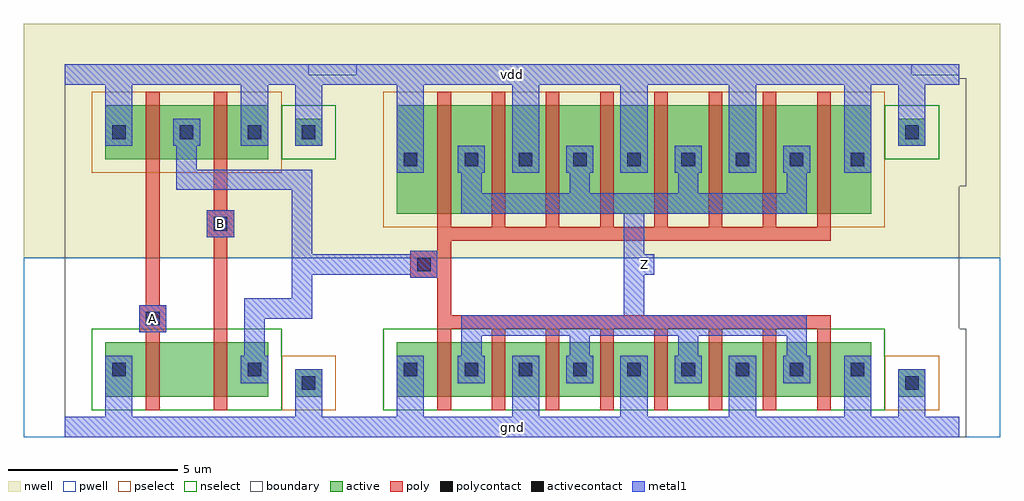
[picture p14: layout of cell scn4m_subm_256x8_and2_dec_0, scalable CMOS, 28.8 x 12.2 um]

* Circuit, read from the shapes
.subckt scn4m_subm_256x8_and2_dec_0 A B Z gnd vdd
M1 scn4m_subm_256x8_pnand2_0/scn4m_subm_256x8_nmos_m1_w1_600_sm1_dactive_2/D A gnd gnd nfet w=1.6u l=0.4u
M2 scn4m_subm_256x8_pinv_0_1/A B scn4m_subm_256x8_pnand2_0/scn4m_subm_256x8_nmos_m1_w1_600_sm1_dactive_2/D gnd nfet w=1.6u l=0.4u
M3 Z scn4m_subm_256x8_pinv_0_1/A gnd gnd nfet w=1.6u l=0.4u m=8
M4 scn4m_subm_256x8_pinv_0_1/A A vdd vdd pfet w=1.6u l=0.4u
M5 vdd B scn4m_subm_256x8_pinv_0_1/A vdd pfet w=1.6u l=0.4u
M6 Z scn4m_subm_256x8_pinv_0_1/A vdd vdd pfet w=3.2u l=0.4u m=8
.ends

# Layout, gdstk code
import gdstk
lib = gdstk.Library(unit=1e-6, precision=1e-09)
def R(c, l, rs):  # rectangles x0, y0, x1, y1
    for r in rs: c.add(gdstk.rectangle(r[:2], r[2:], *l))
def A(c, l, x, y, w, h, nx, ny, dx, dy):  # array of equal rectangles
    R(c, l, [(x+i*dx, y+j*dy, x+i*dx+w, y+j*dy+h) for i in range(nx) for j in range(ny)])
pwell = (41, 0)
nwell = (42, 0)
active = (43, 0)
pselect = (44, 0)
nselect = (45, 0)
poly = (46, 0)
polycontact = (47, 0)
activecontact = (48, 0)
metal1 = (49, 0)
boundary = (63, 0)

scn4m_subm_256x8_contact = lib.new_cell('scn4m_subm_256x8_contact_12')
R(scn4m_subm_256x8_contact, nwell, [(-1.2,-1.2,2,2)])
R(scn4m_subm_256x8_contact, active, [(0,0,0.8,0.8)])
R(scn4m_subm_256x8_contact, pselect, [(-0.4,-0.4,1.2,1.2)])
R(scn4m_subm_256x8_contact, activecontact, [(0.2,0.2,0.6,0.6)])
R(scn4m_subm_256x8_contact, metal1, [(0,0,0.8,0.8)])
R(scn4m_subm_256x8_contact, boundary, [(-1.2,-1.2,2,2)])

scn4m_subm_256x8_pmos_m1 = lib.new_cell('scn4m_subm_256x8_pmos_m1_w1_600_sm1_dm1')
R(scn4m_subm_256x8_pmos_m1, nwell, [(-1.2,-1.2,4,2.8)])
R(scn4m_subm_256x8_pmos_m1, active, [(0,0,2.8,1.6)])
R(scn4m_subm_256x8_pmos_m1, pselect, [(-0.4,-0.4,3.2,2)])
R(scn4m_subm_256x8_pmos_m1, poly, [(1.2,-0.4,1.6,2), (1.2,-0.4,1.6,2)])
R(scn4m_subm_256x8_pmos_m1, metal1, [(0,0.4,0.8,1.2), (2,0.4,2.8,1.2)])
R(scn4m_subm_256x8_pmos_m1, boundary, [(-1.2,-1.2,4,2.8)])
scn4m_subm_256x8_pmos_m1.add(gdstk.Reference(scn4m_subm_256x8_contact, (0,0.4)))
scn4m_subm_256x8_pmos_m1.add(gdstk.Reference(scn4m_subm_256x8_contact, (2,0.4)))
scn4m_subm_256x8_pmos_m1.add(gdstk.Label('G', (1.4,0.8), layer=46, texttype=0))
scn4m_subm_256x8_pmos_m1.add(gdstk.Label('S', (0.4,0.8), layer=49, texttype=0))
scn4m_subm_256x8_pmos_m1.add(gdstk.Label('D', (2.4,0.8), layer=49, texttype=0))

c_scn4m_subm_256x8_contact = lib.new_cell('scn4m_subm_256x8_contact_11')
R(c_scn4m_subm_256x8_contact, pwell, [(-1.2,-1.2,2,2)])
R(c_scn4m_subm_256x8_contact, active, [(0,0,0.8,0.8)])
R(c_scn4m_subm_256x8_contact, nselect, [(-0.4,-0.4,1.2,1.2)])
R(c_scn4m_subm_256x8_contact, activecontact, [(0.2,0.2,0.6,0.6)])
R(c_scn4m_subm_256x8_contact, metal1, [(0,0,0.8,0.8)])
R(c_scn4m_subm_256x8_contact, boundary, [(-1.2,-1.2,2,2)])

scn4m_subm_256x8_nmos_m1 = lib.new_cell('scn4m_subm_256x8_nmos_m1_w1_600_sm1_dactive')
R(scn4m_subm_256x8_nmos_m1, pwell, [(-1.2,-1.2,4,2.8)])
R(scn4m_subm_256x8_nmos_m1, active, [(0,0,2.8,1.6), (2.1,0.5,2.7,1.1)])
R(scn4m_subm_256x8_nmos_m1, nselect, [(-0.4,-0.4,3.2,2)])
R(scn4m_subm_256x8_nmos_m1, poly, [(1.2,-0.4,1.6,2), (1.2,-0.4,1.6,2)])
R(scn4m_subm_256x8_nmos_m1, metal1, [(0,0.4,0.8,1.2)])
R(scn4m_subm_256x8_nmos_m1, boundary, [(-1.2,-1.2,4,2.8)])
scn4m_subm_256x8_nmos_m1.add(gdstk.Reference(c_scn4m_subm_256x8_contact, (0,0.4)))
scn4m_subm_256x8_nmos_m1.add(gdstk.Label('G', (1.4,0.8), layer=46, texttype=0))
scn4m_subm_256x8_nmos_m1.add(gdstk.Label('S', (0.4,0.8), layer=49, texttype=0))
scn4m_subm_256x8_nmos_m1.add(gdstk.Label('D', (2.4,0.8), layer=43, texttype=0))

c_scn4m_subm_256x8_nmos_m1 = lib.new_cell('scn4m_subm_256x8_nmos_m1_w1_600_sactive_dm1')
R(c_scn4m_subm_256x8_nmos_m1, pwell, [(-1.2,-1.2,4,2.8)])
R(c_scn4m_subm_256x8_nmos_m1, active, [(0,0,2.8,1.6), (0.1,0.5,0.7,1.1)])
R(c_scn4m_subm_256x8_nmos_m1, nselect, [(-0.4,-0.4,3.2,2)])
R(c_scn4m_subm_256x8_nmos_m1, poly, [(1.2,-0.4,1.6,2), (1.2,-0.4,1.6,2)])
R(c_scn4m_subm_256x8_nmos_m1, metal1, [(2,0.4,2.8,1.2)])
R(c_scn4m_subm_256x8_nmos_m1, boundary, [(-1.2,-1.2,4,2.8)])
c_scn4m_subm_256x8_nmos_m1.add(gdstk.Reference(c_scn4m_subm_256x8_contact, (2,0.4)))
c_scn4m_subm_256x8_nmos_m1.add(gdstk.Label('G', (1.4,0.8), layer=46, texttype=0))
c_scn4m_subm_256x8_nmos_m1.add(gdstk.Label('S', (0.4,0.8), layer=43, texttype=0))
c_scn4m_subm_256x8_nmos_m1.add(gdstk.Label('D', (2.4,0.8), layer=49, texttype=0))

c_scn4m_subm_256x8_contact_ = lib.new_cell('scn4m_subm_256x8_contact_13')
R(c_scn4m_subm_256x8_contact_, nwell, [(-1.2,-1.2,2,2)])
R(c_scn4m_subm_256x8_contact_, active, [(0,0,0.8,0.8)])
R(c_scn4m_subm_256x8_contact_, nselect, [(-0.4,-0.4,1.2,1.2)])
R(c_scn4m_subm_256x8_contact_, activecontact, [(0.2,0.2,0.6,0.6)])
R(c_scn4m_subm_256x8_contact_, metal1, [(0,0,0.8,0.8)])
R(c_scn4m_subm_256x8_contact_, boundary, [(-1.2,-1.2,2,2)])

c_scn4m_subm_256x8_contact__ = lib.new_cell('scn4m_subm_256x8_contact_14')
R(c_scn4m_subm_256x8_contact__, pwell, [(-1.2,-1.2,2,2)])
R(c_scn4m_subm_256x8_contact__, active, [(0,0,0.8,0.8)])
R(c_scn4m_subm_256x8_contact__, pselect, [(-0.4,-0.4,1.2,1.2)])
R(c_scn4m_subm_256x8_contact__, activecontact, [(0.2,0.2,0.6,0.6)])
R(c_scn4m_subm_256x8_contact__, metal1, [(0,0,0.8,0.8)])
R(c_scn4m_subm_256x8_contact__, boundary, [(-1.2,-1.2,2,2)])

c_scn4m_subm_256x8_contact___ = lib.new_cell('scn4m_subm_256x8_contact_15')
R(c_scn4m_subm_256x8_contact___, poly, [(0,0,0.8,0.8)])
R(c_scn4m_subm_256x8_contact___, polycontact, [(0.2,0.2,0.6,0.6)])
R(c_scn4m_subm_256x8_contact___, metal1, [(0,0,0.8,0.8)])
R(c_scn4m_subm_256x8_contact___, boundary, [(0,0,0.8,0.8)])

scn4m_subm_256x8_pnand2 = lib.new_cell('scn4m_subm_256x8_pnand2')
R(scn4m_subm_256x8_pnand2, pwell, [(-1.2,-0.3,9.8,5)])
R(scn4m_subm_256x8_pnand2, nwell, [(-1.2,5,9.8,11.9)])
R(scn4m_subm_256x8_pnand2, poly, [(2.4,2.8,2.6,3.6), (2.4,2.9,2.8,7.5), (4.4,2.9,4.8,7.5), (4.4,5.6,4.6,6.4)])
R(scn4m_subm_256x8_pnand2, metal1, [(0,-0.3,8.6,0.3), (1.2,-0.3,2,1.3), (6.8,0,7.6,1.3), (5.3,2.1,5.9,3.5), (2.2,2.8,3,3.6), (5.3,3.2,5.9,3.8), (5.6,3.2,7,3.8), (6.7,3.2,7.3,3.8), (6.7,3.5,7.3,7.3), (4.2,5.6,5,6.4), (3.3,7,3.9,7.6), (3.6,7,7,7.6), (6.7,7,7.3,7.6), (3.3,7.3,3.9,8.3), (1.2,8.3,2,10.7), (5.2,8.3,6,10.7), (6.8,8.7,7.6,10.4), (0,10.1,8.6,10.7)])
R(scn4m_subm_256x8_pnand2, boundary, [(0,0,8.6,10.4), (0,0,8.6,10.4)])
scn4m_subm_256x8_pnand2.add(gdstk.Reference(scn4m_subm_256x8_pmos_m1, (1.2,7.9)))
scn4m_subm_256x8_pnand2.add(gdstk.Reference(scn4m_subm_256x8_pmos_m1, (3.2,7.9)))
scn4m_subm_256x8_pnand2.add(gdstk.Reference(scn4m_subm_256x8_nmos_m1, (1.2,0.9)))
scn4m_subm_256x8_pnand2.add(gdstk.Reference(c_scn4m_subm_256x8_nmos_m1, (3.2,0.9)))
scn4m_subm_256x8_pnand2.add(gdstk.Reference(c_scn4m_subm_256x8_contact_, (6.8,8.3)))
scn4m_subm_256x8_pnand2.add(gdstk.Reference(c_scn4m_subm_256x8_contact__, (6.8,0.9)))
scn4m_subm_256x8_pnand2.add(gdstk.Reference(c_scn4m_subm_256x8_contact___, (2.2,2.8)))
scn4m_subm_256x8_pnand2.add(gdstk.Reference(c_scn4m_subm_256x8_contact___, (4.2,5.6)))
scn4m_subm_256x8_pnand2.add(gdstk.Label('Z', (7,7.3), layer=49, texttype=0))
scn4m_subm_256x8_pnand2.add(gdstk.Label('gnd', (4.3,0), layer=49, texttype=0))
scn4m_subm_256x8_pnand2.add(gdstk.Label('vdd', (4.3,10.4), layer=49, texttype=0))
scn4m_subm_256x8_pnand2.add(gdstk.Label('A', (2.6,3.2), layer=49, texttype=0))
scn4m_subm_256x8_pnand2.add(gdstk.Label('B', (4.6,6), layer=49, texttype=0))

scn4m_subm_256x8_pmos_m8 = lib.new_cell('scn4m_subm_256x8_pmos_m8_w3_200_sm1_dm1_da_p')
R(scn4m_subm_256x8_pmos_m8, nwell, [(-1.2,-1.2,15.2,4.4)])
R(scn4m_subm_256x8_pmos_m8, active, [(0,0,14,3.2)])
R(scn4m_subm_256x8_pmos_m8, pselect, [(-0.4,-0.4,14.4,3.6)])
A(scn4m_subm_256x8_pmos_m8, poly, 1.2, -0.4, 0.4, 4, 8, 1, 1.6, 0)
R(scn4m_subm_256x8_pmos_m8, poly, [(1.2,-0.8,12.8,-0.4)])
A(scn4m_subm_256x8_pmos_m8, metal1, 1.9, 0.3, 0.6, 1.3, 4, 1, 3.2, 0)
A(scn4m_subm_256x8_pmos_m8, metal1, 3.4, 1.2, 0.8, 0.8, 3, 1, 3.2, 0)
R(scn4m_subm_256x8_pmos_m8, metal1, [(1.9,0,12.1,0.6), (0,1.2,0.8,2), (13.2,1.2,14,2)])
R(scn4m_subm_256x8_pmos_m8, boundary, [(-1.2,-1.2,15.2,4.4)])
scn4m_subm_256x8_pmos_m8.add(gdstk.Reference(scn4m_subm_256x8_contact, (0,1.2)))
scn4m_subm_256x8_pmos_m8.add(gdstk.Reference(scn4m_subm_256x8_contact, (1.8,1.2)))
scn4m_subm_256x8_pmos_m8.add(gdstk.Reference(scn4m_subm_256x8_contact, (3.4,1.2)))
scn4m_subm_256x8_pmos_m8.add(gdstk.Reference(scn4m_subm_256x8_contact, (5,1.2)))
scn4m_subm_256x8_pmos_m8.add(gdstk.Reference(scn4m_subm_256x8_contact, (6.6,1.2)))
scn4m_subm_256x8_pmos_m8.add(gdstk.Reference(scn4m_subm_256x8_contact, (8.2,1.2)))
scn4m_subm_256x8_pmos_m8.add(gdstk.Reference(scn4m_subm_256x8_contact, (9.8,1.2)))
scn4m_subm_256x8_pmos_m8.add(gdstk.Reference(scn4m_subm_256x8_contact, (11.4,1.2)))
scn4m_subm_256x8_pmos_m8.add(gdstk.Reference(scn4m_subm_256x8_contact, (13.2,1.2)))
scn4m_subm_256x8_pmos_m8.add(gdstk.Label('G', (7,-0.6), layer=46, texttype=0))
scn4m_subm_256x8_pmos_m8.add(gdstk.Label('S', (7,1.6), layer=49, texttype=0))
scn4m_subm_256x8_pmos_m8.add(gdstk.Label('S', (13.6,1.6), layer=49, texttype=0))
scn4m_subm_256x8_pmos_m8.add(gdstk.Label('S', (10.2,1.6), layer=49, texttype=0))
scn4m_subm_256x8_pmos_m8.add(gdstk.Label('S', (3.8,1.6), layer=49, texttype=0))
scn4m_subm_256x8_pmos_m8.add(gdstk.Label('S', (0.4,1.6), layer=49, texttype=0))
scn4m_subm_256x8_pmos_m8.add(gdstk.Label('D', (7,0.3), layer=49, texttype=0))

scn4m_subm_256x8_nmos_m8 = lib.new_cell('scn4m_subm_256x8_nmos_m8_w1_600_sm1_dm1_da_p')
R(scn4m_subm_256x8_nmos_m8, pwell, [(-1.2,-1.2,15.2,2.8)])
R(scn4m_subm_256x8_nmos_m8, active, [(0,0,14,1.6)])
R(scn4m_subm_256x8_nmos_m8, nselect, [(-0.4,-0.4,14.4,2)])
A(scn4m_subm_256x8_nmos_m8, poly, 1.2, -0.4, 0.4, 2.4, 8, 1, 1.6, 0)
R(scn4m_subm_256x8_nmos_m8, poly, [(1.2,2,12.8,2.4)])
A(scn4m_subm_256x8_nmos_m8, metal1, 3.4, 0.4, 0.8, 0.8, 3, 1, 3.2, 0)
A(scn4m_subm_256x8_nmos_m8, metal1, 1.9, 0.8, 0.6, 1.3, 4, 1, 3.2, 0)
R(scn4m_subm_256x8_nmos_m8, metal1, [(0,0.4,0.8,1.2), (13.2,0.4,14,1.2), (1.9,1.8,12.1,2.4)])
R(scn4m_subm_256x8_nmos_m8, boundary, [(-1.2,-1.2,15.2,2.8)])
scn4m_subm_256x8_nmos_m8.add(gdstk.Reference(c_scn4m_subm_256x8_contact, (0,0.4)))
scn4m_subm_256x8_nmos_m8.add(gdstk.Reference(c_scn4m_subm_256x8_contact, (1.8,0.4)))
scn4m_subm_256x8_nmos_m8.add(gdstk.Reference(c_scn4m_subm_256x8_contact, (3.4,0.4)))
scn4m_subm_256x8_nmos_m8.add(gdstk.Reference(c_scn4m_subm_256x8_contact, (5,0.4)))
scn4m_subm_256x8_nmos_m8.add(gdstk.Reference(c_scn4m_subm_256x8_contact, (6.6,0.4)))
scn4m_subm_256x8_nmos_m8.add(gdstk.Reference(c_scn4m_subm_256x8_contact, (8.2,0.4)))
scn4m_subm_256x8_nmos_m8.add(gdstk.Reference(c_scn4m_subm_256x8_contact, (9.8,0.4)))
scn4m_subm_256x8_nmos_m8.add(gdstk.Reference(c_scn4m_subm_256x8_contact, (11.4,0.4)))
scn4m_subm_256x8_nmos_m8.add(gdstk.Reference(c_scn4m_subm_256x8_contact, (13.2,0.4)))
scn4m_subm_256x8_nmos_m8.add(gdstk.Label('G', (7,2.2), layer=46, texttype=0))
scn4m_subm_256x8_nmos_m8.add(gdstk.Label('S', (0.4,0.8), layer=49, texttype=0))
scn4m_subm_256x8_nmos_m8.add(gdstk.Label('S', (3.8,0.8), layer=49, texttype=0))
scn4m_subm_256x8_nmos_m8.add(gdstk.Label('S', (7,0.8), layer=49, texttype=0))
scn4m_subm_256x8_nmos_m8.add(gdstk.Label('S', (10.2,0.8), layer=49, texttype=0))
scn4m_subm_256x8_nmos_m8.add(gdstk.Label('S', (13.6,0.8), layer=49, texttype=0))
scn4m_subm_256x8_nmos_m8.add(gdstk.Label('D', (7,2.1), layer=49, texttype=0))

scn4m_subm_256x8_pinv_0 = lib.new_cell('scn4m_subm_256x8_pinv_0')
R(scn4m_subm_256x8_pinv_0, pwell, [(-1.2,-0.3,19,5)])
R(scn4m_subm_256x8_pinv_0, nwell, [(-1.2,5,19,11.9)])
R(scn4m_subm_256x8_pinv_0, poly, [(2.4,3.3,2.8,5.5), (2,4.4,2.4,5.2)])
A(scn4m_subm_256x8_pinv_0, metal1, 4.6, -0.3, 0.8, 1.6, 3, 1, 3.2, 0)
A(scn4m_subm_256x8_pinv_0, metal1, 4.6, 7.5, 0.8, 3.2, 3, 1, 3.2, 0)
R(scn4m_subm_256x8_pinv_0, metal1, [(0,-0.3,17.8,0.3), (1.2,-0.3,2,1.3), (14.4,-0.3,15.2,1.3), (16,0,16.8,1.3), (7.9,2.7,8.5,6.9), (1.6,4.4,2.4,5.2), (8.2,4.5,8.8,5.1), (1.2,7.5,2,10.7), (14.4,7.5,15.2,10.7), (16,8.7,16.8,10.4), (0,10.1,17.8,10.7)])
R(scn4m_subm_256x8_pinv_0, boundary, [(0,0,17.8,10.4), (0,0,17.8,10.4)])
scn4m_subm_256x8_pinv_0.add(gdstk.Reference(scn4m_subm_256x8_pmos_m8, (1.2,6.3)))
scn4m_subm_256x8_pinv_0.add(gdstk.Reference(scn4m_subm_256x8_nmos_m8, (1.2,0.9)))
scn4m_subm_256x8_pinv_0.add(gdstk.Reference(c_scn4m_subm_256x8_contact_, (16,8.3)))
scn4m_subm_256x8_pinv_0.add(gdstk.Reference(c_scn4m_subm_256x8_contact__, (16,0.9)))
scn4m_subm_256x8_pinv_0.add(gdstk.Reference(c_scn4m_subm_256x8_contact___, (1.6,4.4)))
scn4m_subm_256x8_pinv_0.add(gdstk.Label('A', (2,4.8), layer=49, texttype=0))
scn4m_subm_256x8_pinv_0.add(gdstk.Label('Z', (8.5,4.8), layer=49, texttype=0))
scn4m_subm_256x8_pinv_0.add(gdstk.Label('gnd', (8.9,0), layer=49, texttype=0))
scn4m_subm_256x8_pinv_0.add(gdstk.Label('vdd', (8.9,10.4), layer=49, texttype=0))

scn4m_subm_256x8_and2_de = lib.new_cell('scn4m_subm_256x8_and2_dec_0')
R(scn4m_subm_256x8_and2_de, metal1, [(0,-0.3,26.4,0.3), (2.2,2.8,3,3.6), (6.7,4.5,7.3,5.1), (7,4.5,10.6,5.1), (16.8,4.5,17.4,5.1), (6.7,4.8,7.3,7.3), (4.2,5.6,5,6.4), (0,10.1,26.4,10.7)])
R(scn4m_subm_256x8_and2_de, boundary, [(0,0,26.4,10.4)])
scn4m_subm_256x8_and2_de.add(gdstk.Reference(scn4m_subm_256x8_pnand2, (0,0)))
scn4m_subm_256x8_and2_de.add(gdstk.Reference(scn4m_subm_256x8_pinv_0, (8.6,0)))
scn4m_subm_256x8_and2_de.add(gdstk.Label('Z', (17.1,4.8), layer=49, texttype=0))
scn4m_subm_256x8_and2_de.add(gdstk.Label('A', (2.6,3.2), layer=49, texttype=0))
scn4m_subm_256x8_and2_de.add(gdstk.Label('B', (4.6,6), layer=49, texttype=0))
scn4m_subm_256x8_and2_de.add(gdstk.Label('gnd', (13.2,0), layer=49, texttype=0))
scn4m_subm_256x8_and2_de.add(gdstk.Label('vdd', (13.2,10.4), layer=49, texttype=0))

lib.write_gds('scn4m_subm_256x8_and2_dec_0.gds')
